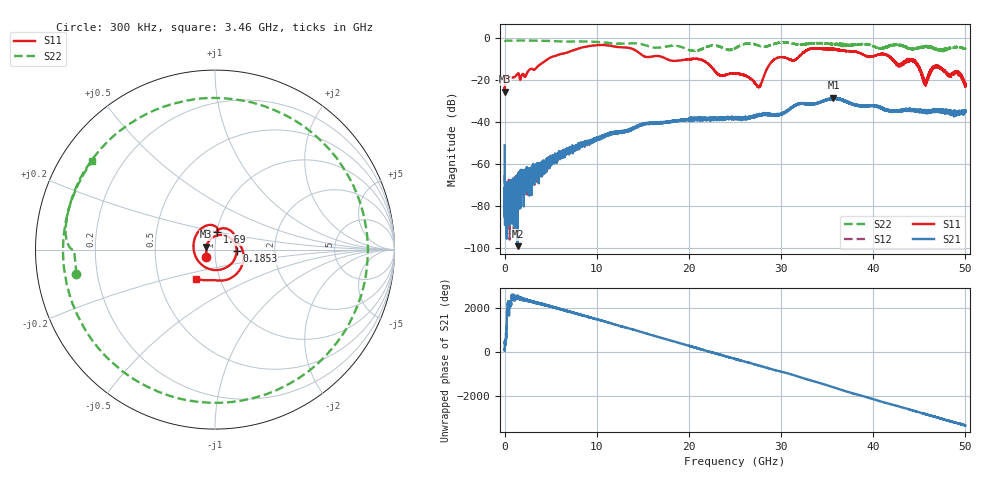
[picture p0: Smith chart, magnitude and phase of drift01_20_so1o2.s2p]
!Created with skrf (http://scikit-rf.org).
# Hz S RI R 50.0
!freq ReS11 ImS11 ReS21 ImS21 ReS12 ImS12 ReS22 ImS22
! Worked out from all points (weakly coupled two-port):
!   10001 points, 300 kHz to 50 GHz, reference 50 ohm
!   highest |S21| = -28.63 dB at 35.68 GHz (marker M1); lowest = -99.2 dB at 1.41 GHz (marker M2)
!   lowest |S11| = -25.8 dB at 5.3 MHz (marker M3), VSWR 1.11, Z = 45.3 + j1.43 ohm
!   |S11| at or under -10 dB: start of sweep to 4.764 GHz; 17.5 GHz to 29.41 GHz (11.91 GHz wide, 50.8 % of centre); 42 GHz to end of sweep (the widest 3 of 6)
!   |S22| runs from -6.5 to -1.4 dB; largest |S21 - S12| = 0.0037
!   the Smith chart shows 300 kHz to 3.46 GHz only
!   S11 on the Smith chart (normalised r, x): 300 kHz: 0.91, -0.07; 185.3 MHz: 1.27, -0.02; 1.69 GHz: 1.00, +0.20; 3.46 GHz: 0.77, -0.26
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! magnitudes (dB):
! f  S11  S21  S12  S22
! 300 kHz  -24.0  -51.3  -65.3  -2.1
! 5.3 MHz  -25.8  -75.9  -85.6  -2.1
! 185.3 MHz  -18.4  -82.7  -80.5  -1.4
! 255.3 MHz  -18.3  -91.1  -75.8  -1.4
! 1.41 GHz  -17.3  -99.2  -69.9  -1.4
! 1.69 GHz  -20.1  -67.6  -66.6  -1.4
! 3.46 GHz  -14.3  -63.9  -62.9  -1.5
! 8.335 GHz  -4.8  -50.8  -50.7  -1.8
! 16.67 GHz  -8.7  -40.8  -40.7  -4.8
! 25 GHz  -17.0  -38.3  -38.3  -5.1
! 27.59 GHz  -23.6  -36.9  -36.9  -3.8
! 29.28 GHz  -10.3  -36.8  -37.0  -2.9
! 31.45 GHz  -10.7  -32.4  -32.5  -3.0
! 33.34 GHz  -5.2  -31.7  -31.5  -2.7
! 35.68 GHz  -5.4  -28.6  -29.0  -3.3
! 41.67 GHz  -8.8  -35.0  -34.9  -4.2
! 42.74 GHz  -12.7  -34.9  -35.0  -3.3
! 44.43 GHz  -11.2  -34.2  -34.8  -5.3
! 45.63 GHz  -20.6  -35.4  -35.2  -4.3
! 46.88 GHz  -14.0  -35.4  -34.8  -5.4
! 49.21 GHz  -16.2  -36.3  -35.5  -4.5
! 50 GHz  -22.2  -34.5  -35.3  -5.4
